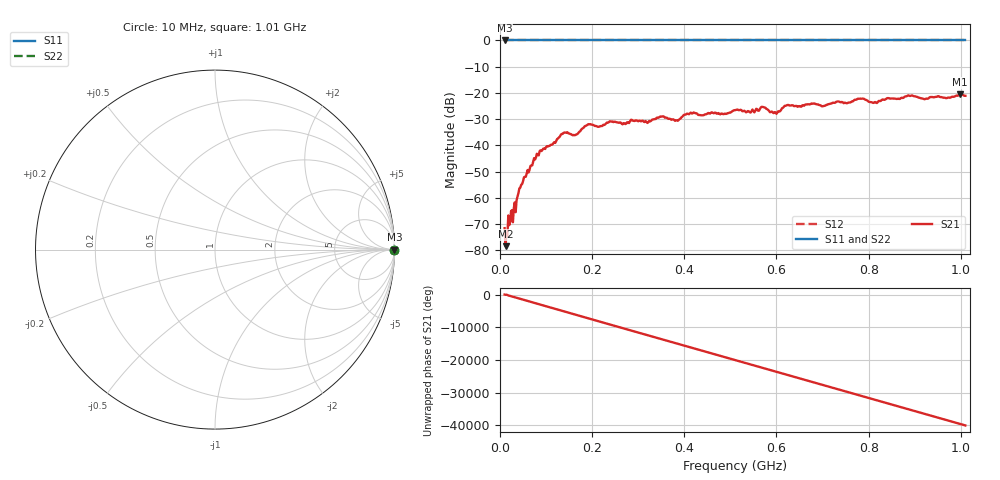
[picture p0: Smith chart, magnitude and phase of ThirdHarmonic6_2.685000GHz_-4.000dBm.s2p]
! 8/17/2025 6:19:58 AM
! C:\ANRITSUVNA\TEMP\TEMP.S2P
! CHANNEL.1
! TR.MEASUREMENT
! RAW.DATA
! RF.CORRECTION.OFF
! AVERAGING.OFF
! IF.BANDWIDTH: 5KHZ
! SWEEPTYPE:  FREQ.SWEEP(Linear)
! Reference Plane Port Info
! PORT:  PORT1  PORT2
! DISTANCE:  0  m  0  m
! TIME:  0  s  0  s
! PHASE.OFFSET:  0  deg.  0  deg.
! LOSS:  0  dB  0  dB
! REF.LOSS:  0  dB  0  dB
! REF.FREQ:  0  Hz  0  Hz
! Power Info
! POWER:  -20  dBm  -20  dBm
! EFF.POWER:  -20  dBm  -20  dBm
! SOURCE.ATTEN:  0  dB  0  dB
! TEST.ATTEN:  0  dB  0  dB
# GHZ S RI R 50.0
! FREQ.GHZ  S11RE  S11IM  S21RE  S21IM  S12RE  S12IM  S22RE  S22IM
!; PortSelection: Port_12
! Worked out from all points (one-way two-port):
!   501 points, 10 MHz to 1.01 GHz, reference 50 ohm
!   highest |S21| = -20.49 dB at 998 MHz (marker M1); lowest = -78.4 dB at 12 MHz (marker M2)
!   lowest |S11| = 0.0 dB at 10 MHz (marker M3)
!   |S11| at or under -10 dB: nowhere
!   |S22| runs from 0.0 to 0.0 dB; largest |S21 - S12| = 1.1
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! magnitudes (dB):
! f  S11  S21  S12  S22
! 10 MHz  0.0  -71.6  0.0  0.0
! 12 MHz  0.0  -78.4  0.0  0.0
! 16 MHz  0.0  -74.5  0.0  0.0
! 22 MHz  0.0  -69.2  0.0  0.0
! 32 MHz  0.0  -61.7  0.0  0.0
! 46 MHz  0.0  -55.0  0.0  0.0
! 78 MHz  0.0  -44.6  0.0  0.0
! 136 MHz  0.0  -35.6  0.0  0.0
! 162 MHz  0.0  -36.2  0.0  0.0
! 178 MHz  0.0  -33.7  0.0  0.0
! 194 MHz  0.0  -32.0  0.0  0.0
! 344 MHz  0.0  -29.5  0.0  0.0
! 384 MHz  0.0  -30.4  0.0  0.0
! 410 MHz  0.0  -28.1  0.0  0.0
! 510 MHz  0.0  -26.6  0.0  0.0
! 570 MHz  0.0  -25.3  0.0  0.0
! 598 MHz  0.0  -27.4  0.0  0.0
! 622 MHz  0.0  -24.7  0.0  0.0
! 678 MHz  0.0  -24.1  0.0  0.0
! 844 MHz  0.0  -22.0  0.0  0.0
! 998 MHz  0.0  -20.5  0.0  0.0
! 1.01 GHz  0.0  -21.1  0.0  0.0
